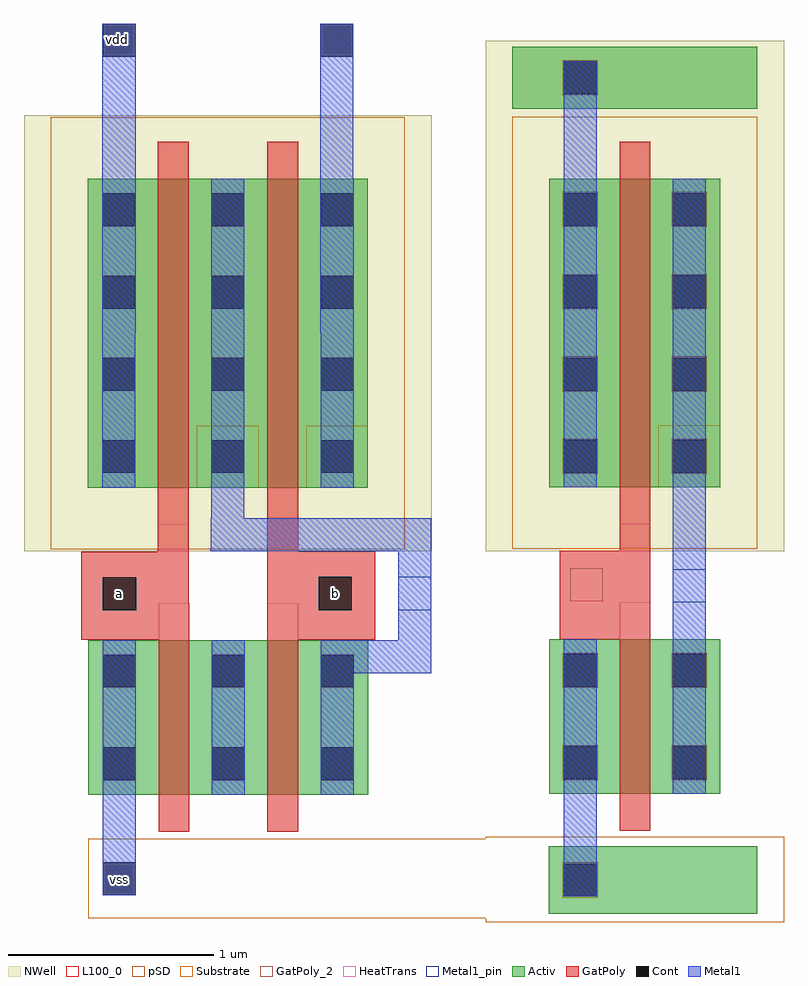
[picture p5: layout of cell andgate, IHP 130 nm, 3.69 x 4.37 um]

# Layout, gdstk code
import gdstk
lib = gdstk.Library(unit=1e-6, precision=1.5e-09)
def R(c, l, rs):  # rectangles x0, y0, x1, y1
    for r in rs: c.add(gdstk.rectangle(r[:2], r[2:], *l))
Activ = (1, 0)
GatPoly = (5, 0)
GatPoly_2 = (5, 2)
Cont = (6, 0)
Metal1 = (8, 0)
Metal1_pin = (8, 2)
pSD = (14, 0)
NWell = (31, 0)
Substrate = (40, 0)
HeatTrans = (51, 0)
L100_0 = (100, 0)

nmos_5 = lib.new_cell('nmos$5')
R(nmos_5, Activ, [(0,0,0.3,0.3), (0,0,1.3605,0.75), (0.5295,0,0.8295,0.3), (1.0605,0,1.3605,0.3)])
R(nmos_5, GatPoly, [(0.3405,-0.18,0.4905,0.93), (0.87,-0.18,1.02,0.93)])
R(nmos_5, GatPoly_2, [(0.3405,-0.18,0.4905,0.93)])
R(nmos_5, Cont, [(0.0705,0.0705,0.2295,0.2295), (0.6,0.0705,0.7605,0.2295), (1.1295,0.0705,1.29,0.2295), (0.0705,0.5205,0.2295,0.6795), (0.6,0.5205,0.7605,0.6795), (1.1295,0.5205,1.29,0.6795)])
R(nmos_5, Metal1, [(0.0705,0,0.2295,0.75), (0.6,0,0.7605,0.75), (1.1295,0,1.29,0.75)])
R(nmos_5, Metal1_pin, [(0.0705,0,0.2295,0.75), (0.6,0,0.7605,0.75)])
R(nmos_5, HeatTrans, [(0.3405,-0.18,0.4905,0.93), (0.87,-0.18,1.02,0.93)])
nmos_5.add(gdstk.Label('nmos', (0.4155,0.375), layer=63, texttype=0))
nmos_5.add(gdstk.Label('nmos', (0.4155,0.375), layer=51, texttype=0))
nmos_5.add(gdstk.Label('nmos', (0.945,0.375), layer=51, texttype=0))

pmos_7 = lib.new_cell('pmos$7')
R(pmos_7, Activ, [(0,0,0.3,0.3), (0,0,0.8295,1.5), (0.5295,0,0.8295,0.3)])
R(pmos_7, GatPoly, [(0.3405,-0.18,0.4905,1.68), (0.3405,-0.18,0.4905,1.68)])
R(pmos_7, Cont, [(0.0705,0.0705,0.2295,0.2295), (0.6,0.0705,0.7605,0.2295), (0.0705,0.4695,0.2295,0.63), (0.6,0.4695,0.7605,0.63), (0.0705,0.87,0.2295,1.0305), (0.6,0.87,0.7605,1.0305), (0.0705,1.2705,0.2295,1.4295), (0.6,1.2705,0.7605,1.4295)])
R(pmos_7, Metal1, [(0.0705,0,0.2295,1.5), (0.0705,0,0.2295,1.5), (0.6,0,0.7605,1.5), (0.6,0,0.7605,1.5)])
R(pmos_7, pSD, [(-0.18,-0.3,1.0095,1.8)])
R(pmos_7, NWell, [(-0.3105,-0.3105,1.14,1.8105)])
R(pmos_7, Substrate, [(0.5295,0,0.8295,0.3)])
R(pmos_7, HeatTrans, [(0.3405,-0.18,0.4905,1.68)])
pmos_7.add(gdstk.Label('pmos', (0.4155,0.75), layer=63, texttype=0))
pmos_7.add(gdstk.Label('pmos', (0.4155,0.75), layer=51, texttype=0))

nmos_7 = lib.new_cell('nmos$7')
R(nmos_7, Activ, [(0,0,0.3,0.3), (0,0,0.8295,0.75), (0.5295,0,0.8295,0.3)])
R(nmos_7, GatPoly, [(0.3405,-0.18,0.4905,0.93)])
R(nmos_7, GatPoly_2, [(0.3405,-0.18,0.4905,0.93)])
R(nmos_7, Cont, [(0.0705,0.0705,0.2295,0.2295), (0.6,0.0705,0.7605,0.2295), (0.0705,0.5205,0.2295,0.6795), (0.6,0.5205,0.7605,0.6795)])
R(nmos_7, Metal1, [(0.0705,0,0.2295,0.75), (0.6,0,0.7605,0.75)])
R(nmos_7, Metal1_pin, [(0.0705,0,0.2295,0.75), (0.6,0,0.7605,0.75)])
R(nmos_7, HeatTrans, [(0.3405,-0.18,0.4905,0.93)])
nmos_7.add(gdstk.Label('nmos', (0.4155,0.375), layer=63, texttype=0))
nmos_7.add(gdstk.Label('nmos', (0.4155,0.375), layer=51, texttype=0))

pmos_8 = lib.new_cell('pmos$8')
R(pmos_8, Activ, [(0,0,0.3,0.3), (0,0,0.8295,1.5), (0.5295,0,0.8295,0.3)])
R(pmos_8, GatPoly, [(0.3405,-0.18,0.4905,1.68), (0.3405,-0.18,0.4905,1.68)])
R(pmos_8, Cont, [(0.0705,0.0705,0.2295,0.2295), (0.6,0.0705,0.7605,0.2295), (0.0705,0.4695,0.2295,0.63), (0.6,0.4695,0.7605,0.63), (0.0705,0.87,0.2295,1.0305), (0.6,0.87,0.7605,1.0305), (0.0705,1.2705,0.2295,1.4295), (0.6,1.2705,0.7605,1.4295)])
R(pmos_8, Metal1, [(0.0705,0,0.2295,1.5), (0.0705,0,0.2295,1.5), (0.6,0,0.7605,1.5), (0.6,0,0.7605,1.5)])
R(pmos_8, pSD, [(-0.18,-0.3,1.0095,1.8)])
R(pmos_8, NWell, [(-0.3105,-0.3105,1.14,1.8105)])
R(pmos_8, Substrate, [(0.5295,0,0.8295,0.3)])
R(pmos_8, HeatTrans, [(0.3405,-0.18,0.4905,1.68)])
pmos_8.add(gdstk.Label('pmos', (0.4155,0.75), layer=63, texttype=0))
pmos_8.add(gdstk.Label('pmos', (0.4155,0.75), layer=51, texttype=0))

inverter_5 = lib.new_cell('inverter$5')
R(inverter_5, Activ, [(-0.6195,-1.71,0.3945,-1.38), (-0.795,2.205,0.3945,2.505)])
R(inverter_5, GatPoly, [(-0.5655,-0.375,-0.2745,0.0555), (-0.2745,-0.195,-0.1245,0.1845)])
R(inverter_5, GatPoly_2, [(-0.5145,-0.1905,-0.3555,-0.03)])
R(inverter_5, Cont, [(-0.5445,-1.6245,-0.3855,-1.4655), (-0.5445,-1.6245,-0.3855,-1.4655), (-0.5445,2.2755,-0.3855,2.4345)])
R(inverter_5, Metal1, [(-0.5445,-1.6245,-0.3855,-0.8445), (-0.015,-0.375,0.1455,0.3645), (-0.5445,1.8645,-0.3855,2.4345)])
R(inverter_5, Metal1_pin, [(-0.015,-0.57,0.1455,-0.435), (-0.015,-0.195,0.1455,-0.0345), (-0.5445,2.2755,-0.3855,2.4345)])
R(inverter_5, pSD, [(-0.9255,-1.7505,0.525,-1.335)])
R(inverter_5, NWell, [(-0.9255,2.175,0.525,2.535)])
R(inverter_5, L100_0, [(-0.5505,-1.6305,-0.3795,-1.4595), (-0.5445,-1.6305,-0.3795,-1.4595), (-0.5505,-1.0605,-0.3795,-0.8895), (-0.5505,-1.0605,-0.3795,-0.8895), (-0.0195,-1.0605,0.15,-0.8895), (-0.0195,-1.0605,0.15,-0.8895), (-0.5505,-0.6105,-0.3795,-0.4395), (-0.5505,-0.6105,-0.3795,-0.4395), (-0.0195,-0.6105,0.15,-0.4395), (-0.0195,-0.6105,0.15,-0.4395), (-0.5505,0.4305,-0.3795,0.6), (-0.5505,0.4305,-0.3795,0.6), (-0.0195,0.4305,0.15,0.6), (-0.0195,0.4305,0.15,0.6), (-0.5505,0.8295,-0.3795,1.0005), (-0.5505,0.8295,-0.3795,1.0005), (-0.0195,0.8295,0.15,1.0005), (-0.0195,0.8295,0.15,1.0005), (-0.5505,1.23,-0.3795,1.3995), (-0.5505,1.23,-0.3795,1.3995), (-0.0195,1.23,0.15,1.3995), (-0.0195,1.23,0.15,1.3995), (-0.5505,1.6305,-0.3795,1.8), (-0.5505,1.6305,-0.3795,1.8), (-0.0195,1.6305,0.15,1.8), (-0.0195,1.6305,0.15,1.8), (-0.5505,2.2695,-0.3795,2.4405), (-0.5505,2.2695,-0.3795,2.4405)])
inverter_5.add(gdstk.Reference(nmos_7, (-0.615,-1.125)))
inverter_5.add(gdstk.Reference(pmos_8, (-0.615,0.3645)))
inverter_5.add(gdstk.Label('vdd', (-0.465,2.355), layer=8, texttype=2))
inverter_5.add(gdstk.Label('vss', (-0.4755,-1.5555), layer=8, texttype=2))
inverter_5.add(gdstk.Label('out', (0.06,-0.09), layer=8, texttype=2))
inverter_5.add(gdstk.Label('in', (-0.45,-0.1095), layer=5, texttype=2))

andgate = lib.new_cell('andgate')
R(andgate, GatPoly, [(-2.4105,-1.0905,-2.0355,-0.6615), (-1.506,-1.0905,-1.356,-0.5295), (-1.356,-1.0905,-0.9795,-0.66), (-2.037,-1.08,-1.887,-0.5295)])
R(andgate, GatPoly_2, [(-2.304,-0.9465,-2.1435,-0.786), (-2.304,-0.945,-2.145,-0.786), (-1.2555,-0.945,-1.0965,-0.786), (-1.2555,-0.945,-1.095,-0.7845)])
R(andgate, Cont, [(-2.3055,-2.3325,-2.145,-2.172), (-2.304,-0.9465,-2.1435,-0.786), (-1.2555,-0.945,-1.095,-0.7845), (-2.3055,1.7445,-2.145,1.905), (-1.248,1.7445,-1.0875,1.905)])
R(andgate, Metal1, [(-2.3055,-2.3325,-2.145,-1.842), (-1.245,-1.2525,-0.708,-1.092), (-0.8685,-1.2525,-0.708,-0.4995), (-1.7805,-0.66,-0.708,-0.4995), (-1.7775,-0.6495,-1.617,-0.3255), (-2.307,0.4005,-2.145,1.905), (-1.248,0.4005,-1.0875,1.905)])
R(andgate, Metal1_pin, [(-2.3055,-2.3325,-2.145,-2.172), (-0.8685,-0.945,-0.708,-0.7845), (-2.307,1.7445,-2.145,1.905)])
R(andgate, pSD, [(-2.3745,-2.4435,0.924,-2.058)])
andgate.add(gdstk.Reference(nmos_5, (-2.3745,-1.842)))
andgate.add(gdstk.Reference(pmos_7, (-2.3775,-0.3495)))
andgate.add(gdstk.Reference(pmos_7, (-1.8465,-0.3495)))
andgate.add(gdstk.Reference(inverter_5, (0.4815,-0.7125)))
andgate.add(gdstk.Label('vss', (-2.226,-2.253), layer=8, texttype=2))
andgate.add(gdstk.Label('vdd', (-2.235,1.83), layer=8, texttype=2))
andgate.add(gdstk.Label('a', (-2.2245,-0.867), layer=5, texttype=2))
andgate.add(gdstk.Label('b', (-1.176,-0.8655), layer=5, texttype=2))

lib.write_gds('andgate.gds')
